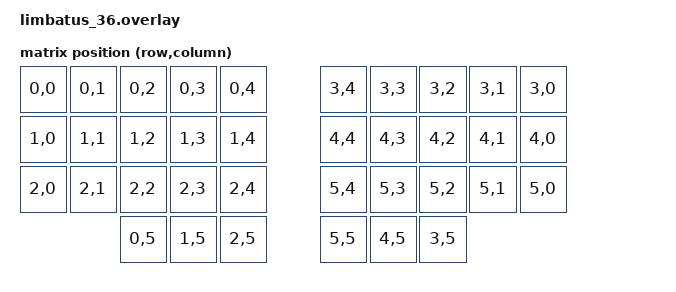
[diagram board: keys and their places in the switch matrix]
/*
 * limbatus — 36-key (optional / retained infrastructure) build.
 *
 * Same board and kscan as the 34-key build (limbatus.dtsi); adds the third
 * thumb per side. The extra thumbs are the "reachy" keys, wired to C5,R2 (left)
 * and C5,R5 (right) — the intersections a 34-key board leaves unpopulated.
 *
 * Per CLAUDE.md, limbatus is marketed as 34-key; this path is kept building so
 * the 36-key option doesn't rot. Uses urob zmk-helpers key-labels/36.h.
 */

#include <dt-bindings/zmk/matrix_transform.h>
#include "limbatus.dtsi"

/ {
    chosen {
        zmk,matrix-transform = &default_transform;
    };

    /*
     * Ordering matches zmk-helpers key-labels/36.h.
     *
     *   ╭────────────────────┬────────────────────╮
     *   │  0   1   2   3   4 │  5   6   7   8   9 │   top row
     *   │ 10  11  12  13  14 │ 15  16  17  18  19 │   home row
     *   │ 20  21  22  23  24 │ 25  26  27  28  29 │   bottom row
     *   ╰───────╮ 30  31  32 │ 33  34  35 ╭───────╯   thumbs
     *           ╰────────────┴────────────╯
     *
     * Thumbs on C5, verified against generated geometry (outer -> inner):
     *   left  = tucky RC(0,5), middle RC(1,5), reachy RC(2,5)
     *   right = reachy RC(5,5), middle RC(4,5), tucky RC(3,5)
     */
    default_transform: keymap_transform_0 {
        compatible = "zmk,matrix-transform";
        columns = <6>;
        rows = <6>;
        map = <
            RC(0,0) RC(0,1) RC(0,2) RC(0,3) RC(0,4)   RC(3,4) RC(3,3) RC(3,2) RC(3,1) RC(3,0)
            RC(1,0) RC(1,1) RC(1,2) RC(1,3) RC(1,4)   RC(4,4) RC(4,3) RC(4,2) RC(4,1) RC(4,0)
            RC(2,0) RC(2,1) RC(2,2) RC(2,3) RC(2,4)   RC(5,4) RC(5,3) RC(5,2) RC(5,1) RC(5,0)
                            RC(0,5) RC(1,5) RC(2,5)   RC(5,5) RC(4,5) RC(3,5)
        >;
    };
};
